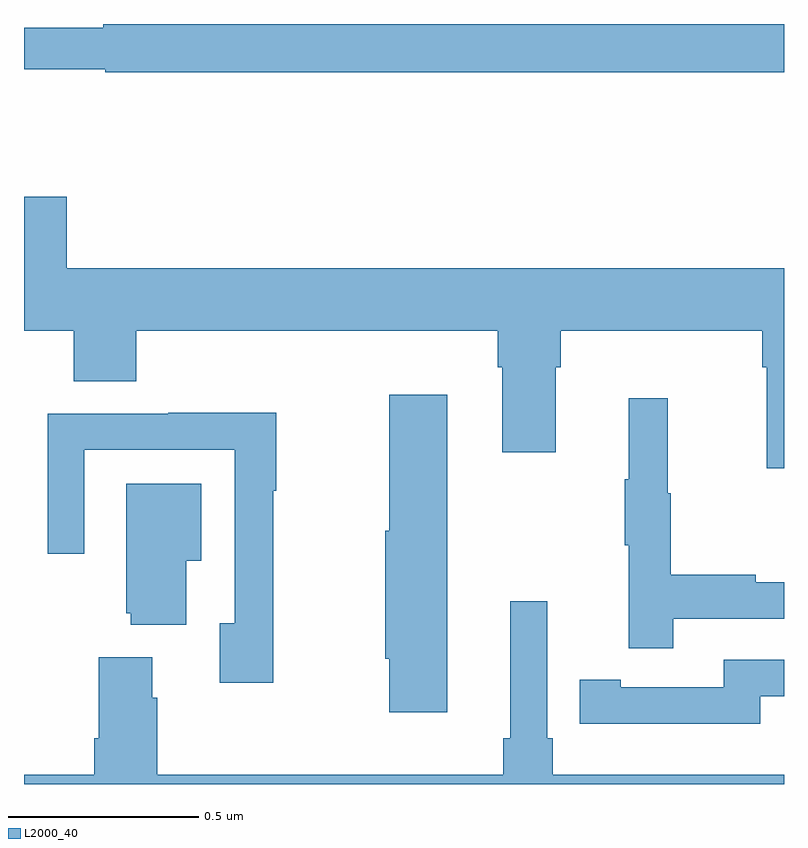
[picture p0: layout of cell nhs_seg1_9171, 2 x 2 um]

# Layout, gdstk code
import gdstk
lib = gdstk.Library(unit=1e-6, precision=1e-09)
def P(c, l, *ps):  # polygons
    for p in ps: c.add(gdstk.Polygon(p, *l))
L2000_40 = (2000, 40)

nhs_seg1_9171 = lib.new_cell('nhs_seg1_9171')
P(nhs_seg1_9171, L2000_40, [(227,559.199),(225.208,559.199),(225.208,559.189),(225,559.189),(225,559.08),(225.214,559.08),(225.214,559.072),(227,559.072)],
  [(227,558.556),(225.112,558.556),(225.112,558.745),(225,558.745),(225,558.392),(225.131,558.392),(225.131,558.259),(225.296,558.259),(225.296,558.392),(226.247,558.392),(226.247,558.296),(226.259,558.296),(226.259,558.072),(226.399,558.072),(226.399,558.296),(226.412,558.296),(226.412,558.392),(226.943,558.392),(226.943,558.296),(226.955,558.296),(226.955,558.03),(227,558.03)],
  [(226.114,558.223),(225.961,558.223),(225.961,557.865),(225.95,557.865),(225.95,557.529),(225.961,557.529),(225.961,557.388),(226.114,557.388)],
  [(226.709,557.634),(227,557.634),(227,557.73),(226.925,557.73),(226.925,557.75),(226.702,557.75),(226.702,557.964),(226.694,557.964),(226.694,558.214),(226.592,558.214),(226.592,558.001),(226.581,558.001),(226.581,557.827),(226.592,557.827),(226.592,557.556),(226.709,557.556)],
  [(225.656,557.971),(225.664,557.971),(225.664,558.176),(225.379,558.176),(225.379,558.174),(225.063,558.174),(225.063,557.805),(225.159,557.805),(225.159,558.078),(225.555,558.078),(225.555,557.622),(225.515,557.622),(225.515,557.466),(225.656,557.466)],
  [(225.427,557.786),(225.466,557.786),(225.466,557.989),(225.269,557.989),(225.269,557.649),(225.281,557.649),(225.281,557.618),(225.427,557.618)],
  [(227,557.224),(226.391,557.224),(226.391,557.32),(226.377,557.32),(226.377,557.68),(226.28,557.68),(226.28,557.32),(226.261,557.32),(226.261,557.224),(225.35,557.224),(225.35,557.426),(225.337,557.426),(225.337,557.533),(225.197,557.533),(225.197,557.32),(225.185,557.32),(225.185,557.224),(225,557.224),(225,557.199),(227,557.199)],
  [(226.938,557.43),(227,557.43),(227,557.526),(226.842,557.526),(226.842,557.454),(226.57,557.454),(226.57,557.474),(226.462,557.474),(226.462,557.358),(226.57,557.358),(226.57,557.357),(226.938,557.357)])

lib.write_gds('nhs_seg1_9171.gds')
